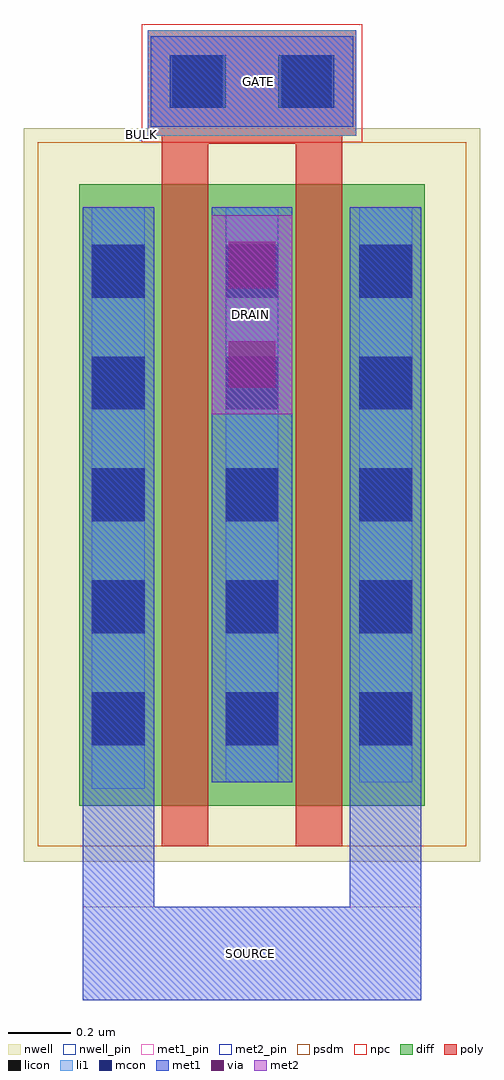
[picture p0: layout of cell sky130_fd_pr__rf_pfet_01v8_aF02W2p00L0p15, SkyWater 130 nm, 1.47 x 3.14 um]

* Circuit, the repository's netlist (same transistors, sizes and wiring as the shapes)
* Copyright 2020 The SkyWater PDK Authors
*
* Licensed under the Apache License, Version 2.0 (the "License");
* you may not use this file except in compliance with the License.
* You may obtain a copy of the License at
*
*     https://www.apache.org/licenses/LICENSE-2.0
*
* Unless required by applicable law or agreed to in writing, software
* distributed under the License is distributed on an "AS IS" BASIS,
* WITHOUT WARRANTIES OR CONDITIONS OF ANY KIND, either express or implied.
* See the License for the specific language governing permissions and
* limitations under the License.
*
* SPDX-License-Identifier: Apache-2.0


.subckt sky130_fd_pr__rf_pfet_01v8_aF02W2p00L0p15 BULK DRAIN GATE SOURCE
X0 SOURCE GATE DRAIN BULK sky130_fd_pr__pfet_01v8 w=2e+06u l=150000u
X1 DRAIN GATE SOURCE BULK sky130_fd_pr__pfet_01v8 w=2e+06u l=150000u
.ends

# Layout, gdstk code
import gdstk
lib = gdstk.Library(unit=1e-6, precision=1e-09)
def R(c, l, rs):  # rectangles x0, y0, x1, y1
    for r in rs: c.add(gdstk.rectangle(r[:2], r[2:], *l))
def A(c, l, x, y, w, h, nx, ny, dx, dy):  # array of equal rectangles
    R(c, l, [(x+i*dx, y+j*dy, x+i*dx+w, y+j*dy+h) for i in range(nx) for j in range(ny)])
nwell_pin = (64, 16)
nwell = (64, 20)
diff = (65, 20)
poly = (66, 20)
licon = (66, 44)
li1 = (67, 20)
mcon = (67, 44)
met1_pin = (68, 16)
met1 = (68, 20)
via = (68, 44)
met2_pin = (69, 16)
met2 = (69, 20)
psdm = (94, 20)
npc = (95, 20)

sky130_fd_pr__rf_pfet_01 = lib.new_cell('sky130_fd_pr__rf_pfet_01v8_aF02W2p00L0p15')
R(sky130_fd_pr__rf_pfet_01, nwell_pin, [(0.37,2.32,0.39,2.355)])
R(sky130_fd_pr__rf_pfet_01, nwell, [(0,0,1.47,2.36)])
R(sky130_fd_pr__rf_pfet_01, diff, [(0.18,0.18,0.445,2.18), (0.21,0.18,0.445,2.18), (0.445,0.18,0.595,2.18), (0.595,0.18,0.875,2.18), (0.875,0.18,1.025,2.18), (1.025,0.18,1.29,2.18), (1.025,0.18,1.29,2.18)])
R(sky130_fd_pr__rf_pfet_01, poly, [(0.445,0.05,0.595,0.18), (0.445,0.05,0.595,2.31), (0.875,0.05,1.025,0.18), (0.875,0.05,1.025,2.31), (0.445,2.18,0.595,2.31), (0.875,2.18,1.025,2.31), (0.445,2.31,1.025,2.675), (0.4,2.335,1.07,2.675)])
A(sky130_fd_pr__rf_pfet_01, licon, 0.22, 0.375, 0.17, 0.17, 3, 5, 0.43, 0.36)
R(sky130_fd_pr__rf_pfet_01, licon, [(0.48,2.425,0.65,2.595), (0.82,2.425,0.99,2.595)])
R(sky130_fd_pr__rf_pfet_01, li1, [(0.22,0.235,0.39,2.105), (0.65,0.255,0.82,2.105), (1.08,0.255,1.25,2.105), (0.4,2.335,1.07,2.675), (0.47,2.425,1,2.595)])
A(sky130_fd_pr__rf_pfet_01, mcon, 0.22, 0.375, 0.17, 0.17, 3, 5, 0.43, 0.36)
R(sky130_fd_pr__rf_pfet_01, mcon, [(0.47,2.425,0.64,2.595), (0.83,2.425,1,2.595)])
R(sky130_fd_pr__rf_pfet_01, met1_pin, [(0.19,-0.445,1.28,-0.145), (0.41,2.365,1.06,2.655)])
R(sky130_fd_pr__rf_pfet_01, met1, [(0.41,2.365,1.06,2.655)])
R(sky130_fd_pr__rf_pfet_01, via, [(0.66,1.525,0.81,1.675), (0.66,1.845,0.81,1.995)])
R(sky130_fd_pr__rf_pfet_01, met2_pin, [(0.605,1.44,0.865,2.08)])
R(sky130_fd_pr__rf_pfet_01, met2, [(0.605,1.44,0.865,2.08)])
R(sky130_fd_pr__rf_pfet_01, psdm, [(0.045,0.05,0.575,2.315), (0.21,0.05,0.595,2.315), (0.465,0.05,1.005,2.315), (0.625,0.05,1.025,2.315), (0.895,0.05,1.425,2.315)])
R(sky130_fd_pr__rf_pfet_01, npc, [(0.38,2.315,1.09,2.695)])
sky130_fd_pr__rf_pfet_01.add(gdstk.FlexPath([(0.305,2.105),(0.305,-0.445)], 0.23, ends="flush", simple_path=True, layer=68, datatype=20))  # met1
sky130_fd_pr__rf_pfet_01.add(gdstk.FlexPath([(0.19,-0.295),(1.28,-0.295)], 0.3, ends="flush", simple_path=True, layer=68, datatype=20))  # met1
sky130_fd_pr__rf_pfet_01.add(gdstk.FlexPath([(0.735,2.105),(0.735,0.255)], 0.26, ends="flush", simple_path=True, layer=68, datatype=20))  # met1
sky130_fd_pr__rf_pfet_01.add(gdstk.FlexPath([(1.165,2.105),(1.165,-0.445)], 0.23, ends="flush", simple_path=True, layer=68, datatype=20))  # met1
sky130_fd_pr__rf_pfet_01.add(gdstk.Label('DRAIN', (0.73,1.76), layer=69, texttype=16))
sky130_fd_pr__rf_pfet_01.add(gdstk.Label('GATE', (0.755,2.51), layer=68, texttype=16))
sky130_fd_pr__rf_pfet_01.add(gdstk.Label('SOURCE', (0.73,-0.295), layer=68, texttype=16))
sky130_fd_pr__rf_pfet_01.add(gdstk.Label('BULK', (0.38,2.34), layer=64, texttype=5))

lib.write_gds('sky130_fd_pr__rf_pfet_01v8_aF02W2p00L0p15.gds')
